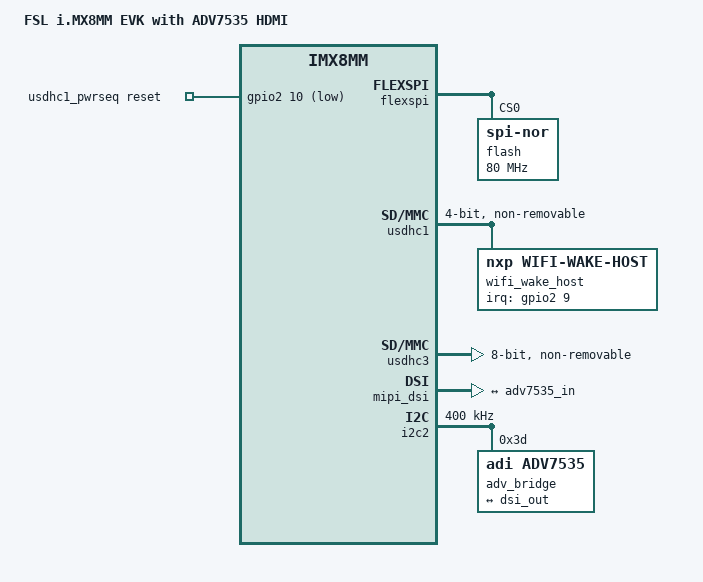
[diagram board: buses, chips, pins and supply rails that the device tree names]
// SPDX-License-Identifier: (GPL-2.0+ OR MIT)
/*
 * Device Tree for i.MX8MM EVK + ADV7535 HDMI Bridge
 */

#include "imx8mm-evk.dtsi"
#include "hdmi-fragment.dtsi"
#include <dt-bindings/usb/pd.h>

/ {
    model = "FSL i.MX8MM EVK with ADV7535 HDMI";
    compatible = "fsl,imx8mm-evk", "fsl,imx8mm";

    aliases {
        spi0 = &flexspi;
    };

    usdhc1_pwrseq: usdhc1_pwrseq {
        compatible = "mmc-pwrseq-simple";
        pinctrl-names = "default";
        pinctrl-0 = <&pinctrl_usdhc1_gpio>;
        reset-gpios = <&gpio2 10 GPIO_ACTIVE_LOW>;
    };
};

&flexspi {
    pinctrl-names = "default";
    pinctrl-0 = <&pinctrl_flexspi>;
    status = "okay";

    flash@0 {
        reg = <0>;
        #address-cells = <1>;
        #size-cells = <1>;
        compatible = "jedec,spi-nor";
        spi-max-frequency = <80000000>;
        spi-tx-bus-width = <1>;
        spi-rx-bus-width = <4>;
    };
};

&usdhc1 {
    pinctrl-names = "default", "state_100mhz", "state_200mhz";
    pinctrl-0 = <&pinctrl_usdhc1>, <&pinctrl_wlan>;
    pinctrl-1 = <&pinctrl_usdhc1_100mhz>, <&pinctrl_wlan>;
    pinctrl-2 = <&pinctrl_usdhc1_200mhz>, <&pinctrl_wlan>;
    bus-width = <4>;
    keep-power-in-suspend;
    non-removable;
    wakeup-source;
    mmc-pwrseq = <&usdhc1_pwrseq>;
    fsl,sdio-async-interrupt-enabled;
    status = "okay";

    wifi_wake_host {
        compatible = "nxp,wifi-wake-host";
        interrupt-parent = <&gpio2>;
        interrupts = <9 IRQ_TYPE_LEVEL_LOW>;
        interrupt-names = "host-wake";
    };
};

&usdhc3 {
    assigned-clocks = <&clk IMX8MM_CLK_USDHC3_ROOT>;
    assigned-clock-rates = <400000000>;
    pinctrl-names = "default", "state_100mhz", "state_200mhz";
    pinctrl-0 = <&pinctrl_usdhc3>;
    pinctrl-1 = <&pinctrl_usdhc3_100mhz>;
    pinctrl-2 = <&pinctrl_usdhc3_200mhz>;
    bus-width = <8>;
    non-removable;
    status = "okay";
};

&mipi_dsi {
    status = "okay";

    port@1 {
        reg = <1>;

        dsi_out: endpoint {
            remote-endpoint = <&adv7535_in>;
            data-lanes = <0 1 2 3>;
        };
    };
};

&i2c2 {
    clock-frequency = <400000>;
    pinctrl-names = "default";
    pinctrl-0 = <&pinctrl_i2c2>;
    status = "okay";

    adv_bridge: adv7535@3d {
        compatible = "adi,adv7535";
        reg = <0x3d>;
        adi,addr-cec = <0x3b>;
        adi,dsi-lanes = <4>;

        status = "okay";

        port {
            adv7535_in: endpoint {
                remote-endpoint = <&dsi_out>;
                data-lanes = <0 1 2 3>;
            };
        };
    };
};

